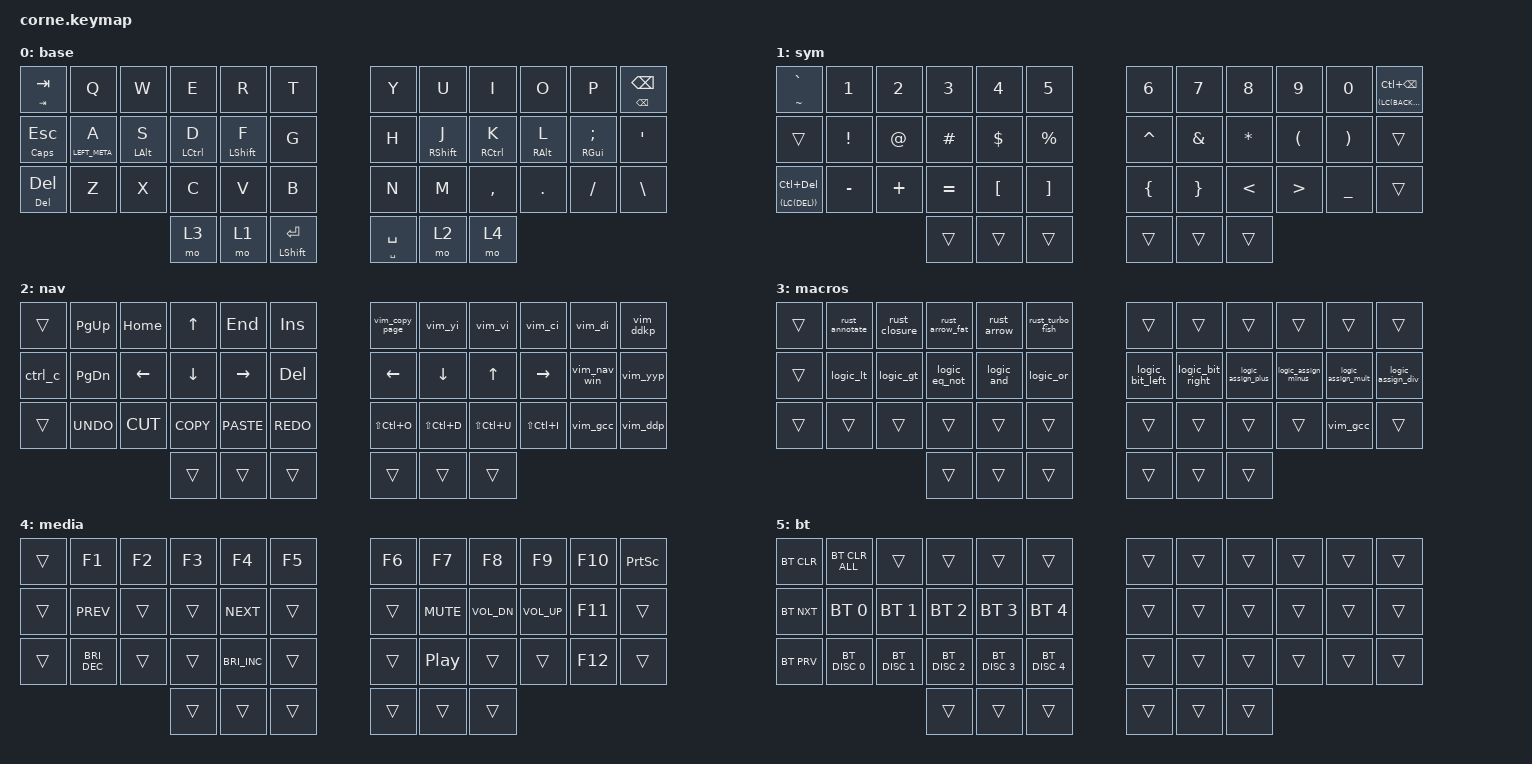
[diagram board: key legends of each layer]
/*
 * Copyright (c) 2020 The ZMK Contributors
 *
 * SPDX-License-Identifier: MIT
 */

#include <behaviors.dtsi>
#include <dt-bindings/zmk/bt.h>
#include <dt-bindings/zmk/keys.h>

/ {
    behaviors {
        hrm_l: hrm_l {
            compatible = "zmk,behavior-hold-tap";
            label = "HRM_L";
            bindings = <&kp>, <&kp>;

            #binding-cells = <2>;
            tapping-term-ms = <200>;
            quick-tap-ms = <150>;
            flavor = "balanced";
            hold-trigger-on-release;
            hold-trigger-key-positions = <18 19 21 22 23 30 31 32 33 34 35 6 7 8 9 10 11 18 19 20 21 22 23 30 31 32 33 34 35>;
            require-prior-idle-ms = <130>;
        };

        hrm_r: hrm_r {
            compatible = "zmk,behavior-hold-tap";
            label = "HRM_R";
            bindings = <&kp>, <&kp>;

            #binding-cells = <2>;
            tapping-term-ms = <200>;
            quick-tap-ms = <150>;
            flavor = "balanced";
            hold-trigger-key-positions = <2 4 5 12 13 14 15 16 17 24 25 26 27 28 29 0 1 2 3 4 5 12 13 14 15 16 17 24 25 26 27 28 29>;
            hold-trigger-on-release;
            require-prior-idle-ms = <130>;
        };

        special_l: special_l {
            compatible = "zmk,behavior-hold-tap";
            label = "SPECIAL_L";
            bindings = <&kp>, <&kp>;

            #binding-cells = <2>;
            tapping-term-ms = <250>;
            quick-tap-ms = <250>;
            flavor = "balanced";
            hold-trigger-on-release;
            hold-trigger-key-positions = <18 19 21 22 23 30 31 32 33 34 35 6 7 8 9 10 11 18 19 20 21 22 23 30 31 32 33 34 35 39 40 41>;
            require-prior-idle-ms = <40>;
        };

        special_r: special_r {
            compatible = "zmk,behavior-hold-tap";
            label = "SPECIAL_R";
            bindings = <&kp>, <&kp>;

            #binding-cells = <2>;
            tapping-term-ms = <250>;
            quick-tap-ms = <250>;
            flavor = "balanced";
            hold-trigger-key-positions = <2 4 5 12 13 14 15 16 17 24 25 26 27 28 29 0 1 2 3 4 5 12 13 14 15 16 17 24 25 26 27 28 29 36 37 38>;
            hold-trigger-on-release;
            require-prior-idle-ms = <40>;
        };
    };

    macros {
        rust_arrow: rust_arrow {
            compatible = "zmk,behavior-macro";
            #binding-cells = <0>;
            bindings = <&macro_tap>, <&kp MINUS &kp GT>;

            label = "RUST_ARROW";
        };

        rust_arrow_fat: rust_arrow_fat {
            compatible = "zmk,behavior-macro";
            #binding-cells = <0>;
            bindings = <&macro_tap>, <&kp EQUAL &kp GT>;

            label = "RUST_ARROW_FAT";
        };

        rust_turbo_fish: rust_turbo_fish {
            compatible = "zmk,behavior-macro";
            #binding-cells = <0>;
            bindings = <&macro_tap>, <&kp COLON &kp COLON &kp LT &kp GT>;

            label = "RUST_TURBO_FISH";
        };

        rust_closure: rust_closure {
            compatible = "zmk,behavior-macro";
            #binding-cells = <0>;
            bindings = <&macro_tap>, <&kp PIPE &kp X &kp PIPE>;

            label = "RUST_CLOSURE";
        };

        rust_annotate: rust_annotate {
            compatible = "zmk,behavior-macro";
            #binding-cells = <0>;
            bindings = <&macro_tap>, <&kp POUND &kp LBKT &kp RBKT>;

            label = "RUST_ANNOTATE";
        };

        logic_eq_not: logic_eq_not {
            compatible = "zmk,behavior-macro";
            #binding-cells = <0>;
            bindings = <&macro_tap>, <&kp EXCL &kp EQUAL>;

            label = "LOGIC_EQ_NOT";
        };

        logic_lt: logic_lt {
            compatible = "zmk,behavior-macro";
            #binding-cells = <0>;
            bindings = <&macro_tap>, <&kp LT &kp EQUAL>;

            label = "LOGIC_LT";
        };

        logic_gt: logic_gt {
            compatible = "zmk,behavior-macro";
            #binding-cells = <0>;
            bindings = <&macro_tap>, <&kp GT &kp EQUAL>;

            label = "LOGIC_GT";
        };

        logic_and: logic_and {
            compatible = "zmk,behavior-macro";
            #binding-cells = <0>;
            bindings = <&macro_tap>, <&kp AMPS &kp AMPS>;

            label = "LOGIC_AND";
        };

        logic_or: logic_or {
            compatible = "zmk,behavior-macro";
            #binding-cells = <0>;
            bindings = <&macro_tap>, <&kp PIPE &kp PIPE>;

            label = "LOGIC_OR";
        };

        logic_bit_left: logic_bit_left {
            compatible = "zmk,behavior-macro";
            #binding-cells = <0>;
            bindings = <&macro_tap>, <&kp LT &kp LT>;

            label = "LOGIC_BIT_LEFT";
        };

        logic_bit_right: logic_bit_right {
            compatible = "zmk,behavior-macro";
            #binding-cells = <0>;
            bindings = <&macro_tap>, <&kp GT &kp GT>;

            label = "LOGIC_BIT_RIGHT";
        };

        logic_assign_plus: logic_assign_plus {
            compatible = "zmk,behavior-macro";
            #binding-cells = <0>;
            bindings = <&macro_tap>, <&kp PLUS &kp EQUAL>;

            label = "LOGIC_ASSIGN_PLUS";
        };

        logic_assign_minus: logic_assign_minus {
            compatible = "zmk,behavior-macro";
            #binding-cells = <0>;
            bindings = <&macro_tap>, <&kp MINUS &kp EQUAL>;

            label = "LOGIC_ASSIGN_MINUS";
        };

        logic_assign_mult: logic_assign_mult {
            compatible = "zmk,behavior-macro";
            #binding-cells = <0>;
            bindings = <&macro_tap>, <&kp STAR &kp EQUAL>;

            label = "LOGIC_ASSIGN_MULT";
        };

        logic_assign_div: logic_assign_div {
            compatible = "zmk,behavior-macro";
            #binding-cells = <0>;
            bindings = <&macro_tap>, <&kp FSLH &kp EQUAL>;

            label = "LOGIC_ASSIGN_DIV";
        };

        vim_ci: vim_ci {
            compatible = "zmk,behavior-macro";
            #binding-cells = <0>;
            bindings = <&macro_tap>, <&kp C &kp I>;

            label = "VIM_CI";
        };

        vim_di: vim_di {
            compatible = "zmk,behavior-macro";
            #binding-cells = <0>;
            bindings = <&macro_tap>, <&kp D &kp I>;

            label = "VIM_DI";
        };

        vim_yi: vim_yi {
            compatible = "zmk,behavior-macro";
            #binding-cells = <0>;
            bindings = <&macro_tap>, <&kp Y &kp I>;

            label = "VIM_YI";
        };

        vim_vi: vim_vi {
            compatible = "zmk,behavior-macro";
            #binding-cells = <0>;
            bindings = <&macro_tap>, <&kp V &kp I>;

            label = "VIM_VI";
        };

        vim_ddkp: vim_ca {
            compatible = "zmk,behavior-macro";
            #binding-cells = <0>;
            bindings = <&macro_tap>, <&kp D &kp D &kp K &kp LS(P)>;

            label = "VIM_CA";
        };

        vim_ddp: vim_da {
            compatible = "zmk,behavior-macro";
            #binding-cells = <0>;
            bindings = <&macro_tap>, <&kp D &kp D &kp P>;

            label = "VIM_DA";
        };

        vim_yyp: vim_ya {
            compatible = "zmk,behavior-macro";
            #binding-cells = <0>;
            bindings = <&macro_tap>, <&kp Y &kp Y &kp P>;

            label = "VIM_YA";
        };

        vim_nav_win: vim_va {
            compatible = "zmk,behavior-macro";
            #binding-cells = <0>;
            bindings = <&macro_tap>, <&kp LC(W)>;

            label = "VIM_VA";
        };

        vim_gcc: vim_gcc {
            compatible = "zmk,behavior-macro";
            #binding-cells = <0>;
            bindings = <&macro_tap>, <&kp G &kp C &kp C>;

            label = "VIM_GCC";
        };

        vim_copy_page: vim_copy_page {
            compatible = "zmk,behavior-macro";
            #binding-cells = <0>;
            bindings =
                <&macro_tap>,
                <&kp G &kp G &kp LS(V) &kp LS(G) &kp DOUBLE_QUOTES &kp PLUS &kp Y>;

            label = "VIM_COPY_PAGE";
        };

        ctrl_c: ctrl_c {
            compatible = "zmk,behavior-macro";
            #binding-cells = <0>;
            bindings = <&kp LC(C)>;
            label = "CTRL_C";
        };
    };

    keymap {
        compatible = "zmk,keymap";

        base {
            // -----------------------------------------------------------------------------------------
            // |  TAB |  Q  |  W  |  E  |  R  |  T  |   |  Y  |  U   |  I  |  O  |  P  | BSPC |
            // | CTRL |  A  |  S  |  D  |  F  |  G  |   |  H  |  J   |  K  |  L  |  ;  |  '   |
            // | SHFT |  Z  |  X  |  C  |  V  |  B  |   |  N  |  M   |  ,  |  .  |  /  | ESC  |
            //                    | GUI | LWR | SPC |   | ENT | RSE  | ALT |

            bindings = <
&special_l TAB TAB          &kp Q               &kp W              &kp E                  &kp R                &kp T                           &kp Y                   &kp U                 &kp I                   &kp O               &kp P                       &special_r BACKSPACE BACKSPACE
&special_l CAPSLOCK ESCAPE  &hrm_l LEFT_META A  &hrm_l LEFT_ALT S  &hrm_l LEFT_CONTROL D  &hrm_l LEFT_SHIFT F  &kp G                           &kp H                   &hrm_r RIGHT_SHIFT J  &hrm_r RIGHT_CONTROL K  &hrm_r RIGHT_ALT L  &hrm_r RIGHT_GUI SEMICOLON  &kp SQT
&special_l DELETE DELETE    &kp Z               &kp X              &kp C                  &kp V                &kp B                           &kp N                   &kp M                 &kp COMMA               &kp DOT             &kp FSLH                    &kp BACKSLASH
                                                                   &mo 3                  &mo 1                &special_l LEFT_SHIFT RETURN    &special_r SPACE SPACE  &mo 2                 &mo 4
            >;
        };

        sym {
            bindings = <
&special_l TILDE GRAVE           &kp NUMBER_1     &kp NUMBER_2  &kp NUMBER_3  &kp NUMBER_4      &kp NUMBER_5         &kp NUMBER_6    &kp NUMBER_7     &kp NUMBER_8   &kp NUMBER_9          &kp NUMBER_0           &special_r (LC(BACKSPACE)) LC(BACKSPACE)
&trans                           &kp EXCLAMATION  &kp AT_SIGN   &kp HASH      &kp DOLLAR        &kp PERCENT          &kp CARET       &kp AMPERSAND    &kp ASTERISK   &kp LEFT_PARENTHESIS  &kp RIGHT_PARENTHESIS  &trans
&special_l (LC(DEL)) LC(DELETE)  &kp MINUS        &kp PLUS      &kp EQUAL     &kp LEFT_BRACKET  &kp RIGHT_BRACKET    &kp LEFT_BRACE  &kp RIGHT_BRACE  &kp LESS_THAN  &kp GREATER_THAN      &kp UNDER              &trans
                                                                &trans        &trans            &trans               &trans          &trans           &trans
            >;
        };

        nav {
            bindings = <
&trans   &kp PAGE_UP    &kp HOME        &kp UP_ARROW    &kp END          &kp INSERT    &vim_copy_page  &vim_yi         &vim_vi        &vim_ci          &vim_di       &vim_ddkp
&ctrl_c  &kp PAGE_DOWN  &kp LEFT_ARROW  &kp DOWN_ARROW  &kp RIGHT_ARROW  &kp DELETE    &kp LEFT_ARROW  &kp DOWN_ARROW  &kp UP_ARROW   &kp RIGHT_ARROW  &vim_nav_win  &vim_yyp
&trans   &kp K_UNDO     &kp K_CUT       &kp K_COPY      &kp K_PASTE      &kp K_REDO    &kp LS(LC(O))   &kp LS(LC(D))   &kp LS(LC(U))  &kp LS(LC(I))    &vim_gcc      &vim_ddp
                                        &trans          &trans           &trans        &trans          &trans          &trans
            >;
        };

        macros {
            bindings = <
&trans  &rust_annotate  &rust_closure  &rust_arrow_fat  &rust_arrow  &rust_turbo_fish    &trans           &trans            &trans              &trans               &trans              &trans
&trans  &logic_lt       &logic_gt      &logic_eq_not    &logic_and   &logic_or           &logic_bit_left  &logic_bit_right  &logic_assign_plus  &logic_assign_minus  &logic_assign_mult  &logic_assign_div
&trans  &trans          &trans         &trans           &trans       &trans              &trans           &trans            &trans              &trans               &vim_gcc            &trans
                                       &trans           &trans       &trans              &trans           &trans            &trans
            >;
        };

        media {
            bindings = <
&trans  &kp F1                &kp F2  &kp F3  &kp F4                &kp F5    &kp F6  &kp F7            &kp F8        &kp F9           &kp F10  &kp PRINTSCREEN
&trans  &kp C_PREV            &trans  &trans  &kp C_NEXT            &trans    &trans  &kp C_MUTE        &kp C_VOL_DN  &kp C_VOLUME_UP  &kp F11  &trans
&trans  &kp C_BRIGHTNESS_DEC  &trans  &trans  &kp C_BRIGHTNESS_INC  &trans    &trans  &kp C_PLAY_PAUSE  &trans        &trans           &kp F12  &trans
                                      &trans  &trans                &trans    &trans  &trans            &trans
            >;
        };

        bt {
            // -----------------------------------------------------------------------------------------
            // |  TAB |  1  |  2  |  3  |  4  |  5  |   |  6  |  7  |  8  |  9  |  0  | BSPC |
            // | BTCLR| BT1 | BT2 | BT3 | BT4 | BT5 |   | LFT | DWN |  UP | RGT |     |      |
            // | SHFT |     |     |     |     |     |   |     |     |     |     |     |      |
            //                    | GUI |     | SPC |   | ENT |     | ALT |

            bindings = <
&bt BT_CLR  &bt BT_CLR_ALL  &trans         &trans         &trans         &trans           &trans  &trans  &trans  &trans  &trans  &trans
&bt BT_NXT  &bt BT_SEL 0    &bt BT_SEL 1   &bt BT_SEL 2   &bt BT_SEL 3   &bt BT_SEL 4     &trans  &trans  &trans  &trans  &trans  &trans
&bt BT_PRV  &bt BT_DISC 0   &bt BT_DISC 1  &bt BT_DISC 2  &bt BT_DISC 3  &bt BT_DISC 4    &trans  &trans  &trans  &trans  &trans  &trans
                                           &trans         &trans         &trans           &trans  &trans  &trans
            >;
        };
    };

    conditional_layers {
        compatible = "zmk,conditional-layers";

        bt_layer {
            if-layers = <1 3>;
            then-layer = <5>;
        };
    };
};
